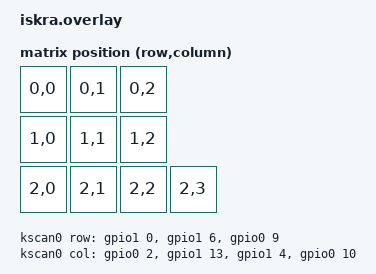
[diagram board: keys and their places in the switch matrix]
/*
 * Iskra shield overlay (nice_nano_v2, Pro Micro footprint)
 */

#include <dt-bindings/zmk/matrix_transform.h>
#include <physical_layouts.dtsi>

/ {
	chosen {
		zmk,kscan = &kscan0;
		zmk,physical-layout = &iskra_layout;
	};

	iskra_transform: iskra_transform {
		compatible = "zmk,matrix-transform";
		columns = <4>;
		rows = <3>;
		/* Only 10 keys populated: 3x4 matrix with two empty positions (row 0 col 3, row 1 col 3) */
		map = <
			RC(0,0) RC(0,1) RC(0,2)
			RC(1,0) RC(1,1) RC(1,2)
			RC(2,0) RC(2,1) RC(2,2) RC(2,3)
		>;
	};

	iskra_layout: iskra_layout {
		compatible = "zmk,physical-layout";
		display-name = "Default Layout";
		transform = <&iskra_transform>;
		kscan = <&kscan0>;
		/* 10 keys arranged as:
		 * 1 2 3 _
		 * 4 5 6 _
		 * 7 8 9 0
		 */
		keys = <&key_physical_attrs 100 100    0    0 0 0 0>
		     , <&key_physical_attrs 100 100  100    0 0 0 1>
		     , <&key_physical_attrs 100 100  200    0 0 0 2>
		     , <&key_physical_attrs 100 100    0  100 0 1 0>
		     , <&key_physical_attrs 100 100  100  100 0 1 1>
		     , <&key_physical_attrs 100 100  200  100 0 1 2>
		     , <&key_physical_attrs 100 100    0  200 0 2 0>
		     , <&key_physical_attrs 100 100  100  200 0 2 1>
		     , <&key_physical_attrs 100 100  200  200 0 2 2>
		     , <&key_physical_attrs 100 100  300  200 0 2 3>;
	};
};

&pro_micro {
	kscan0: kscan {
		compatible = "zmk,kscan-gpio-matrix";
		label = "KSCAN";
		diode-direction = "col2row";
		debounce-press-ms = <5>;
		debounce-release-ms = <5>;

		row-gpios = <&gpio1 0 (GPIO_ACTIVE_LOW | GPIO_PULL_UP)>,
			       <&gpio1 6 (GPIO_ACTIVE_LOW | GPIO_PULL_UP)>,
			       <&gpio0 9 (GPIO_ACTIVE_LOW | GPIO_PULL_UP)>;

		col-gpios = <&gpio0 2 GPIO_ACTIVE_LOW>,
		       	<&gpio1 13 GPIO_ACTIVE_LOW>,
		       	<&gpio1 4 GPIO_ACTIVE_LOW>,
		       	<&gpio0 10 GPIO_ACTIVE_LOW>;
	};
};
